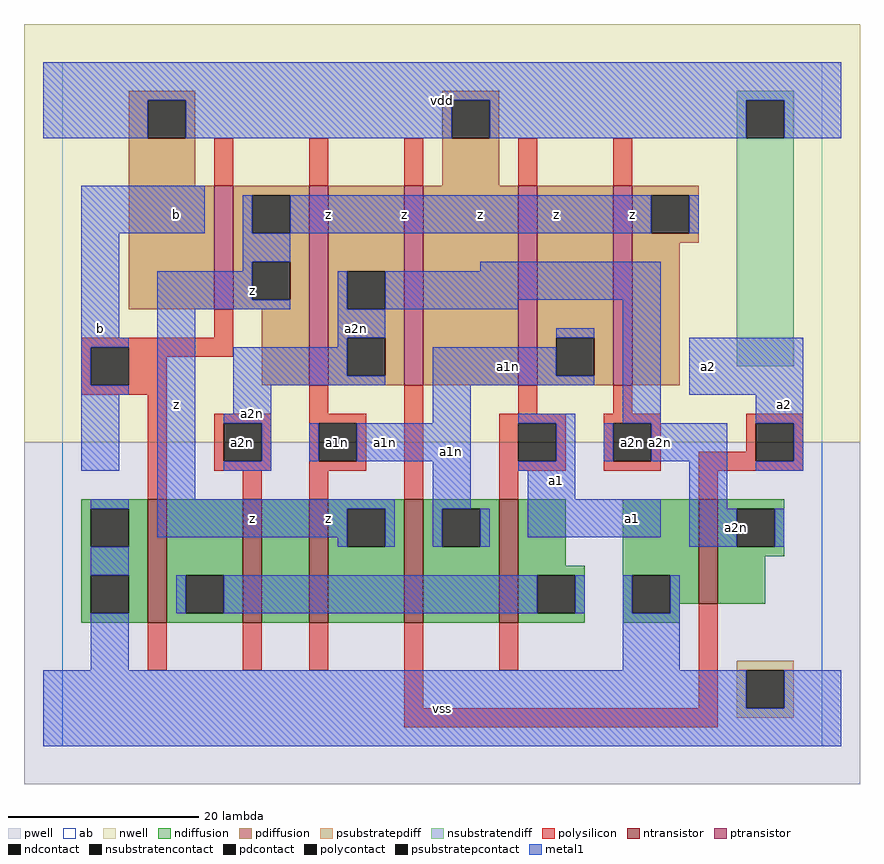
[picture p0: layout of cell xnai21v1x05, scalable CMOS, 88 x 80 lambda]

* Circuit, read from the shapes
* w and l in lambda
.subckt xnai21v1x05 a1 a1n a2 a2n b vdd vss z
M1 n1 b vss vss nfet w=13 l=2
M2 n2 a2n n1 vss nfet w=13 l=2
M3 z a1n n2 vss nfet w=13 l=2
M4 a1n a2 z vss nfet w=13 l=2
M5 n1 a1 a1n vss nfet w=13 l=2
M6 a2n a2 vss vss nfet w=11 l=2
M7 z b vdd vdd pfet w=13 l=2
M8 a2n a1n z vdd pfet w=21 l=2
M9 vdd a2 a2n vdd pfet w=21 l=2
M10 a1n a1 vdd vdd pfet w=21 l=2
M11 z a2n a1n vdd pfet w=21 l=2
.ends

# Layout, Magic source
magic
tech scmos
<< ab >>
rect 0 0 80 72
<< pwell >>
rect -4 -4 84 32
<< nwell >>
rect -4 32 84 76
<< polysilicon >>
rect 16 59 18 64
rect 26 59 28 64
rect 36 59 38 64
rect 48 59 50 64
rect 58 59 60 64
rect 16 43 18 46
rect 2 42 18 43
rect 2 38 3 42
rect 7 41 18 42
rect 7 38 11 41
rect 2 37 11 38
rect 9 26 11 37
rect 26 35 28 38
rect 16 34 22 35
rect 16 30 17 34
rect 21 30 22 34
rect 16 29 22 30
rect 26 34 32 35
rect 26 30 27 34
rect 31 30 32 34
rect 26 29 32 30
rect 19 26 21 29
rect 26 26 28 29
rect 36 26 38 38
rect 48 35 50 38
rect 58 35 60 38
rect 46 34 53 35
rect 46 30 48 34
rect 52 30 53 34
rect 46 29 53 30
rect 57 34 63 35
rect 57 30 58 34
rect 62 30 63 34
rect 72 34 78 35
rect 72 31 73 34
rect 57 29 63 30
rect 67 30 73 31
rect 77 30 78 34
rect 67 29 78 30
rect 46 26 48 29
rect 67 26 69 29
rect 9 8 11 13
rect 19 8 21 13
rect 26 8 28 13
rect 36 4 38 13
rect 46 8 48 13
rect 67 4 69 15
rect 36 2 69 4
<< ndiffusion >>
rect 2 25 9 26
rect 2 21 3 25
rect 7 21 9 25
rect 2 18 9 21
rect 2 14 3 18
rect 7 14 9 18
rect 2 13 9 14
rect 11 18 19 26
rect 11 14 13 18
rect 17 14 19 18
rect 11 13 19 14
rect 21 13 26 26
rect 28 25 36 26
rect 28 21 30 25
rect 34 21 36 25
rect 28 13 36 21
rect 38 25 46 26
rect 38 21 40 25
rect 44 21 46 25
rect 38 13 46 21
rect 48 19 53 26
rect 48 18 55 19
rect 48 14 50 18
rect 54 14 55 18
rect 48 13 55 14
rect 59 18 67 26
rect 59 14 60 18
rect 64 15 67 18
rect 69 25 76 26
rect 69 21 71 25
rect 75 21 76 25
rect 69 20 76 21
rect 69 15 74 20
rect 64 14 65 15
rect 59 13 65 14
<< pdiffusion >>
rect 7 68 14 69
rect 7 64 9 68
rect 13 64 14 68
rect 40 68 46 69
rect 40 64 41 68
rect 45 64 46 68
rect 7 59 14 64
rect 40 59 46 64
rect 7 46 16 59
rect 18 58 26 59
rect 18 54 20 58
rect 24 54 26 58
rect 18 51 26 54
rect 18 47 20 51
rect 24 47 26 51
rect 18 46 26 47
rect 21 38 26 46
rect 28 50 36 59
rect 28 46 30 50
rect 34 46 36 50
rect 28 43 36 46
rect 28 39 30 43
rect 34 39 36 43
rect 28 38 36 39
rect 38 38 48 59
rect 50 43 58 59
rect 50 39 52 43
rect 56 39 58 43
rect 50 38 58 39
rect 60 58 67 59
rect 60 54 62 58
rect 66 54 67 58
rect 60 53 67 54
rect 60 38 65 53
<< metal1 >>
rect -2 68 82 72
rect -2 64 9 68
rect 13 64 41 68
rect 45 64 72 68
rect 76 64 82 68
rect 2 54 15 59
rect 19 54 20 58
rect 24 54 62 58
rect 66 54 67 58
rect 2 43 6 54
rect 19 51 24 54
rect 19 50 20 51
rect 10 47 20 50
rect 44 50 63 51
rect 10 46 24 47
rect 29 46 30 50
rect 34 47 63 50
rect 34 46 48 47
rect 2 42 7 43
rect 2 38 3 42
rect 2 37 7 38
rect 2 29 6 37
rect 10 26 14 46
rect 29 43 34 46
rect 29 42 30 43
rect 18 39 30 42
rect 52 43 56 44
rect 18 38 34 39
rect 39 39 52 42
rect 39 38 56 39
rect 18 35 22 38
rect 17 34 22 35
rect 39 34 43 38
rect 21 30 22 34
rect 26 30 27 34
rect 31 30 43 34
rect 17 29 22 30
rect 3 25 7 26
rect 10 25 35 26
rect 10 22 30 25
rect 29 21 30 22
rect 34 21 35 25
rect 39 25 43 30
rect 48 34 54 35
rect 59 34 63 47
rect 66 37 78 43
rect 73 34 78 37
rect 52 30 54 34
rect 57 30 58 34
rect 62 30 70 34
rect 48 29 54 30
rect 49 26 54 29
rect 39 21 40 25
rect 44 21 45 25
rect 49 22 63 26
rect 66 25 70 30
rect 77 30 78 34
rect 73 29 78 30
rect 66 21 71 25
rect 75 21 76 25
rect 3 18 7 21
rect 12 14 13 18
rect 17 14 50 18
rect 54 14 55 18
rect 59 14 60 18
rect 64 14 65 18
rect 3 8 7 14
rect 59 8 65 14
rect -2 4 72 8
rect 76 4 82 8
rect -2 0 82 4
<< ntransistor >>
rect 9 13 11 26
rect 19 13 21 26
rect 26 13 28 26
rect 36 13 38 26
rect 46 13 48 26
rect 67 15 69 26
<< ptransistor >>
rect 16 46 18 59
rect 26 38 28 59
rect 36 38 38 59
rect 48 38 50 59
rect 58 38 60 59
<< polycontact >>
rect 3 38 7 42
rect 17 30 21 34
rect 27 30 31 34
rect 48 30 52 34
rect 58 30 62 34
rect 73 30 77 34
<< ndcontact >>
rect 3 21 7 25
rect 3 14 7 18
rect 13 14 17 18
rect 30 21 34 25
rect 40 21 44 25
rect 50 14 54 18
rect 60 14 64 18
rect 71 21 75 25
<< pdcontact >>
rect 9 64 13 68
rect 41 64 45 68
rect 20 54 24 58
rect 20 47 24 51
rect 30 46 34 50
rect 30 39 34 43
rect 52 39 56 43
rect 62 54 66 58
<< psubstratepcontact >>
rect 72 4 76 8
<< nsubstratencontact >>
rect 72 64 76 68
<< psubstratepdiff >>
rect 71 8 77 9
rect 71 4 72 8
rect 76 4 77 8
rect 71 3 77 4
<< nsubstratendiff >>
rect 71 68 77 69
rect 71 64 72 68
rect 76 64 77 68
rect 71 40 77 64
<< labels >>
rlabel polycontact 19 32 19 32 6 a2n
rlabel polycontact 29 32 29 32 6 a1n
rlabel polycontact 60 32 60 32 6 a2n
rlabel metal1 4 44 4 44 6 b
rlabel metal1 28 24 28 24 6 z
rlabel metal1 20 24 20 24 6 z
rlabel metal1 20 35 20 35 6 a2n
rlabel metal1 12 36 12 36 6 z
rlabel metal1 20 48 20 48 6 z
rlabel metal1 28 56 28 56 6 z
rlabel metal1 12 56 12 56 6 b
rlabel metal1 40 4 40 4 6 vss
rlabel metal1 41 31 41 31 6 a1n
rlabel metal1 34 32 34 32 6 a1n
rlabel metal1 31 44 31 44 6 a2n
rlabel metal1 36 56 36 56 6 z
rlabel metal1 44 56 44 56 6 z
rlabel metal1 40 68 40 68 6 vdd
rlabel metal1 60 24 60 24 6 a1
rlabel metal1 52 28 52 28 6 a1
rlabel metal1 47 40 47 40 6 a1n
rlabel metal1 60 56 60 56 6 z
rlabel metal1 52 56 52 56 6 z
rlabel metal1 71 23 71 23 6 a2n
rlabel metal1 63 32 63 32 6 a2n
rlabel metal1 68 40 68 40 6 a2
rlabel metal1 76 36 76 36 6 a2
<< end >>
